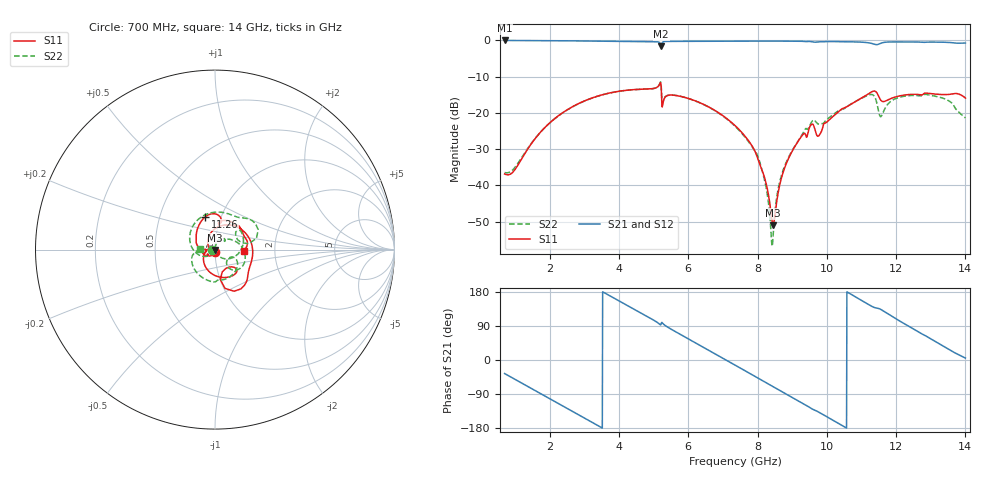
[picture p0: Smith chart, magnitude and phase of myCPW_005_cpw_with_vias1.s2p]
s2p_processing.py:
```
import microwave_toolbox as mt
import matplotlib.pyplot as plot
import matplotlib.patches as patches
import numpy as np
import os
import time

##############setup functions####################
start_time = time.time()
script_directory = os.path.dirname(os.path.abspath(__file__))
file = os.path.join(script_directory,"myCPW_005_cpw_with_vias1.s2p")

#################calulation functions###########################
network = mt.system_tools.network(file)

##################plotting functions#######################
#plot.plot(network.frequencies,network.dbmag[1][0])
#plot.plot(network.frequencies,np.real(network.impedance[1][1]))

plot.plot(np.real(network.impedance[0][0]))
plot.plot(np.imag(network.impedance[0][0]))
smith = mt.plotting_tools.smith_chart()
real = [np.real(x) for x in network.complex[0][0]]
imag = [np.imag(x) for x in network.complex[0][0]]
smith.ax.plot(real,imag)

plot.grid()
plot.show()
```
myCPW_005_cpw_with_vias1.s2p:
! Touchstone file exported from HFSS 2023.2.0
!  File:  C:/Users/daniel.skrabacz/Documents/EM working folder/myCPW.aedt
!  Generated:  1:48:45 PM  Apr 29, 2025
!  Design:  005_cpw_with_vias1
!  Project:  myCPW
!  Setup:  Setup1
!  Solution:  Sweep
! Variables:
!  $cpw_signal = 1.043mm
!  $d1_thick = 0.762mm
!  $gnd_side_1 = 5.225mm
!  $gnd_side_2 = 5.019mm
!  $half_oz_cu = 0.0175mm
!  $height = 1.5415mm
!  $length = 8.451mm
!  $offset = 0.1mm
!  $one_oz_cu = 0.03556mm
!  $via_height = 1.61262mm
!  $via_radius = 0.381mm
!  $wg_height = 3.5mm
!  $width = 11.811mm
!  offset = 107mm
# GHz S DB R 50.000000
! Terminal data exported
! Port[1] = 1
! Port[2] = 2
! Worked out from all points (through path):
!   1331 points, 700 MHz to 14 GHz, reference 50 ohm
!   highest |S21| = -0.03 dB at 700 MHz (marker M1); lowest = -1.6 dB at 5.22 GHz (marker M2)
!   group delay of S21, straight-line fit = 142 ps
!   lowest |S11| = -50.9 dB at 8.45 GHz (marker M3), VSWR 1.01, Z = 49.8 - j0.149 ohm
!   |S11| at or under -10 dB: start of sweep to end of sweep
!   |S22| runs from -56.7 to -11.4 dB; largest |S21 - S12| = 5.7e-14
!   S11 on the Smith chart (normalised r, x): 700 MHz: 1.00, -0.03; 11.26 GHz: 0.84, +0.32; 14 GHz: 1.38, -0.02
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0.7  -36.83 -80.1  -0.03 -35.8  -0.03 -35.8  -36.43 -167.9
! Gamma 0.12658675535786 22.8626008540534 0.125921995944921 27.9743954225213
! Port Impedance 50 0 50 0
1.93  -23.39 125.9  -0.08 -98.6  -0.08 -98.6  -23.41 -145.4
3.25  -15.80 57.2  -0.20 -165.9  -0.20 -165.9  -15.82 150.0
5.22  -13.03 -75.6  -1.61 95.7  -1.61 95.7  -12.43 15.1
7.35  -23.48 -155.2  -0.19 -13.4  -0.19 -13.4  -23.67 -47.9
8.02  -32.96 157.7  -0.21 -47.9  -0.21 -47.9  -32.18 -71.8
8.45  -50.94 -148.2  -0.20 -70.1  -0.20 -70.1  -53.90 47.8
9.35  -25.63 -143.0  -0.29 -117.3  -0.29 -117.3  -24.91 69.6
11.26  -14.39 106.4  -0.76 143.5  -0.76 143.5  -14.94 -23.5
12.54  -14.87 54.1  -0.45 79.8  -0.45 79.8  -15.19 -73.7
14  -15.92 -2.0  -0.75 5.2  -0.75 5.2  -21.36 178.1
